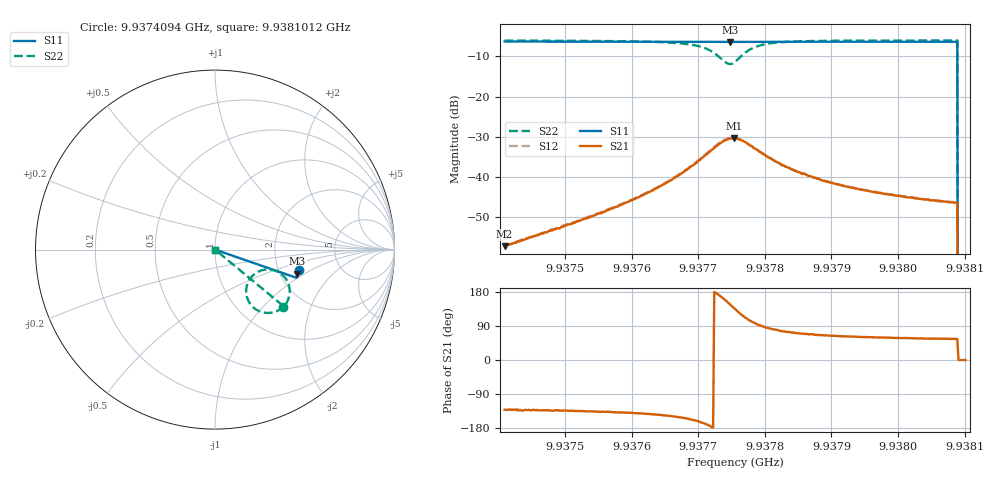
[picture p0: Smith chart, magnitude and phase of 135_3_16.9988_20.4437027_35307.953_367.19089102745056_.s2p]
#  HZ  S  RI  R  50.00
! Rohde & Schwarz Vector Network Analyzer
! Rohde-Schwarz,ZNB20-2Port,1311601062101988,3.16
! Created: UTC 3/20/2024, 10:58:07 PM
! freq[Hz]  re:S11  im:S11  re:S21  im:S21  re:S12  im:S12  re:S22  im:S22
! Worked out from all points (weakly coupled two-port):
!   401 points, 9.9374094 GHz to 9.9381012 GHz, reference 50 ohm
!   highest |S21| = -30.35 dB at 9.9377536 GHz (marker M1); lowest = -57.2 dB at 9.9374094 GHz (marker M2)
!   lowest |S11| = -6.4 dB at 9.9377484 GHz (marker M3), VSWR 2.83, Z = 124 - j43.2 ohm
!   |S11| at or under -10 dB: 9.9380891 GHz to end of sweep
!   |S22| runs from - to -6.0 dB; largest |S21 - S12| = 0.0015
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9.93740942e9  0.4694 -0.1136  -0.000909 -0.00105  -0.000962 -0.00102  0.3811 -0.3185
9.93752529e9  0.467 -0.1214  -0.00209 -0.00209  -0.00213 -0.00206  0.3651 -0.3314
9.93758236e9  0.4655 -0.1252  -0.00333 -0.00295  -0.00344 -0.00298  0.3511 -0.3394
9.93764116e9  0.464 -0.1294  -0.00616 -0.00437  -0.00638 -0.00434  0.3241 -0.3496
9.93767402e9  0.4627 -0.1318  -0.00964 -0.00522  -0.00996 -0.00514  0.2927 -0.3532
9.93771034e9  0.4609 -0.1339  -0.0182 -0.00385  -0.0186 -0.00347  0.2243 -0.3304
9.93772244e9  0.4601 -0.1346  -0.0224 -0.000592  -0.0231 0.000115  0.1932 -0.2983
9.93773282e9  0.4593 -0.1348  -0.0258 0.00492  -0.0263 0.00579  0.1749 -0.2494
9.93774147e9  0.4589 -0.1345  -0.0265 0.0113  -0.0267 0.0126  0.1792 -0.1958
9.93774838e9  0.4586 -0.1343  -0.0249 0.0169  -0.0246 0.0183  0.202 -0.154
9.93775357e9  0.4589 -0.1341  -0.0223 0.0206  -0.0218 0.0219  0.2294 -0.1297
9.9377553e9  0.459 -0.1341  -0.0214 0.0215  -0.0206 0.0228  0.2398 -0.1238
9.93776395e9  0.4593 -0.1341  -0.0149 0.0248  -0.0139 0.0256  0.2941 -0.1106
9.93777433e9  0.46 -0.1345  -0.00796 0.0247  -0.00695 0.0252  0.3486 -0.1229
9.93779335e9  0.4606 -0.1361  -0.000376 0.0205  0.000223 0.0205  0.3994 -0.1697
9.93782794e9  0.4603 -0.1391  0.0035 0.0135  0.00369 0.0134  0.4165 -0.2305
9.93787117e9  0.4595 -0.1426  0.00384 0.00933  0.00412 0.00915  0.4115 -0.2669
9.93792478e9  0.4581 -0.1463  0.00352 0.00671  0.00371 0.00669  0.4029 -0.2888
9.93798704e9  0.4567 -0.1504  0.00317 0.0052  0.00329 0.00516  0.3947 -0.303
9.93808562e9  0.4539 -0.157  0.00271 0.00396  0.00283 0.00395  0.3847 -0.3169
9.93809426e9  0 0  0 0  0 0  0 0
9.93810118e9  0 0  0 0  0 0  0 0
